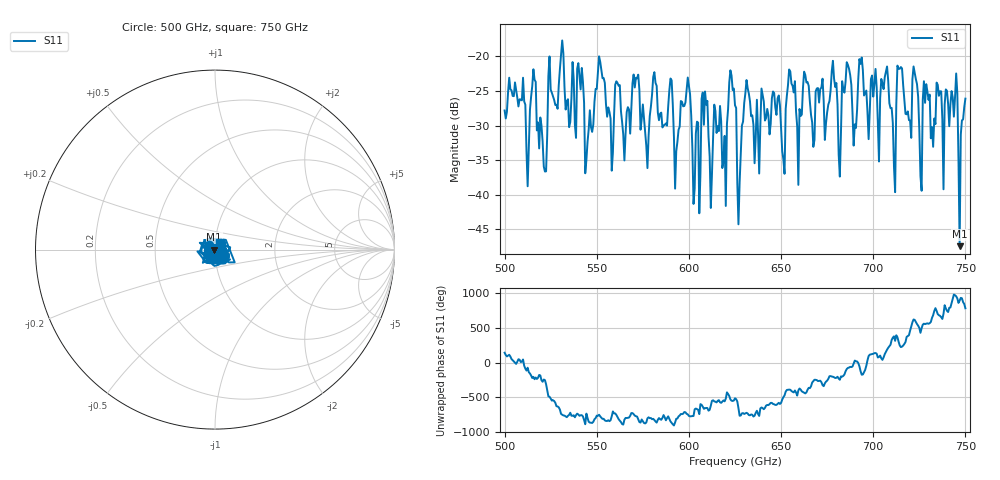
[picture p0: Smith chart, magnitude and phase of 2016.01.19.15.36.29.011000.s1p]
!Created with skrf (http://scikit-rf.org).
# GHz S RI R 50.0
!freq ReS11 ImS11
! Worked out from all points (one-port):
!   401 points, 500 GHz to 750 GHz, reference 50 ohm
!   lowest |S11| = -47.5 dB at 746.9 GHz (marker M1), VSWR 1.01, Z = 49.6 + j0.0265 ohm
!   |S11| at or under -10 dB: start of sweep to end of sweep
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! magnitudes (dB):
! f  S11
! 500 GHz  -27.8
! 512.5 GHz  -38.8
! 515.6 GHz  -21.9
! 521.9 GHz  -36.7
! 531.2 GHz  -17.7
! 545 GHz  -32.3
! 551.9 GHz  -20.8
! 557.5 GHz  -29.0
! 562.5 GHz  -24.2
! 590 GHz  -23.2
! 593.8 GHz  -32.4
! 599.4 GHz  -23.0
! 603.1 GHz  -39.1
! 608.1 GHz  -29.9
! 611.9 GHz  -41.9
! 625 GHz  -27.1
! 627.5 GHz  -38.3
! 631.2 GHz  -23.4
! 651.2 GHz  -34.9
! 656.2 GHz  -24.3
! 660 GHz  -27.6
! 678.8 GHz  -23.2
! 681.2 GHz  -34.2
! 687.5 GHz  -22.7
! 718.8 GHz  -27.9
! 744.4 GHz  -25.9
! 746.9 GHz  -47.5
! 750 GHz  -26.1
